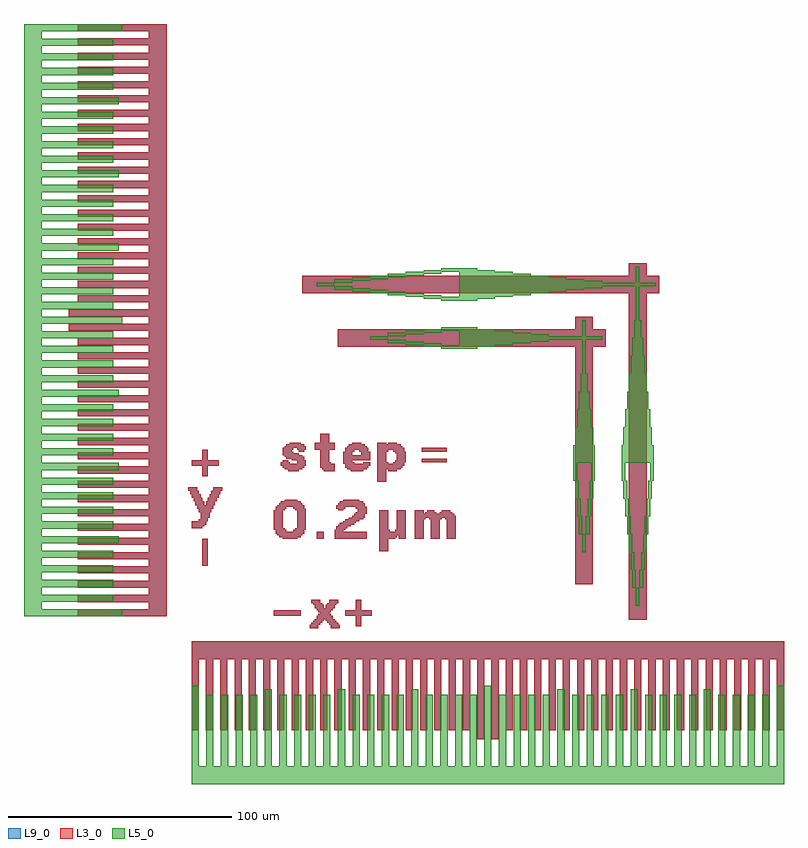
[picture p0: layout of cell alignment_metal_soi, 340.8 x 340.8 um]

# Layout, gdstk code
import gdstk
lib = gdstk.Library(unit=1e-6, precision=1e-09)
def R(c, l, rs):  # rectangles x0, y0, x1, y1
    for r in rs: c.add(gdstk.rectangle(r[:2], r[2:], *l))
def A(c, l, x, y, w, h, nx, ny, dx, dy):  # array of equal rectangles
    R(c, l, [(x+i*dx, y+j*dy, x+i*dx+w, y+j*dy+h) for i in range(nx) for j in range(ny)])
L3_0 = (3, 0)
L5_0 = (5, 0)
L9_0 = (9, 0)

alignment_metal_soi = lib.new_cell('alignment_metal_soi')
A(alignment_metal_soi, L3_0, 100.041, 45.9, 4, 8.8, 3, 1, 7.2, 0)
R(alignment_metal_soi, L3_0, [(128,-44,131.2,-8), (128,-44,131.2,-8), (128,-44,131.2,-8), (128,-44,131.2,-8), (128,-44,131.2,-8), (134.4,-44,137.6,-8), (134.4,-44,137.6,-8), (134.4,-44,137.6,-8), (134.4,-44,137.6,-8), (134.4,-44,137.6,-8), (0,-40,3.2,-8), (0,-40,3.2,-8), (0,-40,3.2,-8), (0,-40,3.2,-8), (0,-40,3.2,-8), (6.4,-40,9.6,-8), (6.4,-40,9.6,-8), (6.4,-40,9.6,-8), (6.4,-40,9.6,-8), (6.4,-40,9.6,-8), (12.8,-40,16,-8), (12.8,-40,16,-8), (12.8,-40,16,-8), (12.8,-40,16,-8), (12.8,-40,16,-8), (19.2,-40,22.4,-8), (19.2,-40,22.4,-8), (19.2,-40,22.4,-8), (19.2,-40,22.4,-8), (19.2,-40,22.4,-8), (25.6,-40,28.8,-8), (25.6,-40,28.8,-8), (25.6,-40,28.8,-8), (25.6,-40,28.8,-8), (25.6,-40,28.8,-8), (32,-40,35.2,-8), (32,-40,35.2,-8), (32,-40,35.2,-8), (32,-40,35.2,-8), (32,-40,35.2,-8), (38.4,-40,41.6,-8), (38.4,-40,41.6,-8), (38.4,-40,41.6,-8), (38.4,-40,41.6,-8), (38.4,-40,41.6,-8), (44.8,-40,48,-8), (44.8,-40,48,-8), (44.8,-40,48,-8), (44.8,-40,48,-8), (44.8,-40,48,-8), (51.2,-40,54.4,-8), (51.2,-40,54.4,-8), (51.2,-40,54.4,-8), (51.2,-40,54.4,-8), (51.2,-40,54.4,-8), (57.6,-40,60.8,-8), (57.6,-40,60.8,-8), (57.6,-40,60.8,-8), (57.6,-40,60.8,-8), (57.6,-40,60.8,-8), (64,-40,67.2,-8), (64,-40,67.2,-8), (64,-40,67.2,-8), (64,-40,67.2,-8), (64,-40,67.2,-8), (70.4,-40,73.6,-8), (70.4,-40,73.6,-8), (70.4,-40,73.6,-8), (70.4,-40,73.6,-8), (70.4,-40,73.6,-8), (76.8,-40,80,-8), (76.8,-40,80,-8), (76.8,-40,80,-8), (76.8,-40,80,-8), (76.8,-40,80,-8), (83.2,-40,86.4,-8), (83.2,-40,86.4,-8), (83.2,-40,86.4,-8), (83.2,-40,86.4,-8), (83.2,-40,86.4,-8), (89.6,-40,92.8,-8), (89.6,-40,92.8,-8), (89.6,-40,92.8,-8), (89.6,-40,92.8,-8), (89.6,-40,92.8,-8), (96,-40,99.2,-8), (96,-40,99.2,-8), (96,-40,99.2,-8), (96,-40,99.2,-8), (96,-40,99.2,-8), (102.4,-40,105.6,-8), (102.4,-40,105.6,-8), (102.4,-40,105.6,-8), (102.4,-40,105.6,-8), (102.4,-40,105.6,-8), (108.8,-40,112,-8), (108.8,-40,112,-8), (108.8,-40,112,-8), (108.8,-40,112,-8), (108.8,-40,112,-8), (115.2,-40,118.4,-8), (115.2,-40,118.4,-8), (115.2,-40,118.4,-8), (115.2,-40,118.4,-8), (115.2,-40,118.4,-8), (121.6,-40,124.8,-8), (121.6,-40,124.8,-8), (121.6,-40,124.8,-8), (121.6,-40,124.8,-8), (121.6,-40,124.8,-8), (140.8,-40,144,-8), (140.8,-40,144,-8), (140.8,-40,144,-8), (140.8,-40,144,-8), (140.8,-40,144,-8), (147.2,-40,150.4,-8), (147.2,-40,150.4,-8), (147.2,-40,150.4,-8), (147.2,-40,150.4,-8), (147.2,-40,150.4,-8), (153.6,-40,156.8,-8), (153.6,-40,156.8,-8), (153.6,-40,156.8,-8), (153.6,-40,156.8,-8), (153.6,-40,156.8,-8), (160,-40,163.2,-8), (160,-40,163.2,-8), (160,-40,163.2,-8), (160,-40,163.2,-8), (160,-40,163.2,-8), (166.4,-40,169.6,-8), (166.4,-40,169.6,-8), (166.4,-40,169.6,-8), (166.4,-40,169.6,-8), (166.4,-40,169.6,-8), (172.8,-40,176,-8), (172.8,-40,176,-8), (172.8,-40,176,-8), (172.8,-40,176,-8), (172.8,-40,176,-8), (179.2,-40,182.4,-8), (179.2,-40,182.4,-8), (179.2,-40,182.4,-8), (179.2,-40,182.4,-8), (179.2,-40,182.4,-8), (185.6,-40,188.8,-8), (185.6,-40,188.8,-8), (185.6,-40,188.8,-8), (185.6,-40,188.8,-8), (185.6,-40,188.8,-8), (192,-40,195.2,-8), (192,-40,195.2,-8), (192,-40,195.2,-8), (192,-40,195.2,-8), (192,-40,195.2,-8), (198.4,-40,201.6,-8), (198.4,-40,201.6,-8), (198.4,-40,201.6,-8), (198.4,-40,201.6,-8), (198.4,-40,201.6,-8), (204.8,-40,208,-8), (204.8,-40,208,-8), (204.8,-40,208,-8), (204.8,-40,208,-8), (204.8,-40,208,-8), (211.2,-40,214.4,-8), (211.2,-40,214.4,-8), (211.2,-40,214.4,-8), (211.2,-40,214.4,-8), (211.2,-40,214.4,-8), (217.6,-40,220.8,-8), (217.6,-40,220.8,-8), (217.6,-40,220.8,-8), (217.6,-40,220.8,-8), (217.6,-40,220.8,-8), (224,-40,227.2,-8), (224,-40,227.2,-8), (224,-40,227.2,-8), (224,-40,227.2,-8), (224,-40,227.2,-8), (230.4,-40,233.6,-8), (230.4,-40,233.6,-8), (230.4,-40,233.6,-8), (230.4,-40,233.6,-8), (230.4,-40,233.6,-8), (236.8,-40,240,-8), (236.8,-40,240,-8), (236.8,-40,240,-8), (236.8,-40,240,-8), (236.8,-40,240,-8), (243.2,-40,246.4,-8), (243.2,-40,246.4,-8), (243.2,-40,246.4,-8), (243.2,-40,246.4,-8), (243.2,-40,246.4,-8), (249.6,-40,252.8,-8), (249.6,-40,252.8,-8), (249.6,-40,252.8,-8), (249.6,-40,252.8,-8), (249.6,-40,252.8,-8), (256,-40,259.2,-8), (256,-40,259.2,-8), (256,-40,259.2,-8), (256,-40,259.2,-8), (256,-40,259.2,-8), (262.4,-40,265.6,-8), (262.4,-40,265.6,-8), (262.4,-40,265.6,-8), (262.4,-40,265.6,-8), (262.4,-40,265.6,-8), (0,-8,265.6,0), (0,-8,265.6,0), (0,-8,265.6,0), (0,-8,265.6,0), (0,-8,265.6,0), (52.841,5.9,56.841,7.5), (62.441,5.9,66.441,7.5), (73.641,6.7,76.041,18.7), (53.641,7.5,57.641,8.3), (61.641,7.5,65.641,8.3), (54.441,8.3,58.441,9.1), (60.841,8.3,64.841,9.1), (55.241,9.1,59.241,9.9), (60.041,9.1,64.041,9.9), (196,9.601,204,169.601), (56.041,9.9,63.241,11.5), (-51.2,11.2,-19.2,14.4), (-51.2,11.2,-19.2,14.4), (-19.2,11.2,-11.2,276.8), (-19.2,11.2,-11.2,276.8), (36.841,11.5,48.841,13.9), (56.841,11.5,62.441,12.3), (68.841,11.5,80.841,13.9), (57.641,12.3,61.641,13.1), (56.841,13.1,62.441,13.9), (56.041,13.9,63.241,14.7), (55.241,14.7,59.241,16.3), (60.041,14.7,64.041,16.3), (54.441,16.3,58.441,17.1), (60.841,16.3,64.841,17.1), (53.641,17.1,57.641,18.7), (61.641,17.1,65.641,18.7), (-51.2,17.6,-19.2,20.8), (-51.2,17.6,-19.2,20.8), (-51.2,24,-19.2,27.2), (-51.2,24,-19.2,27.2), (171.92,25.6,179.92,145.6), (-51.2,30.4,-19.2,33.6), (-51.2,30.4,-19.2,33.6), (4.841,33.9,7.241,45.9), (-51.2,36.8,-19.2,40), (-51.2,36.8,-19.2,40), (84.041,40.3,88.041,49.1), (-51.2,43.2,-19.2,46.4), (-51.2,43.2,-19.2,46.4), (40.841,45.9,47.241,46.7), (56.041,45.9,59.241,49.1), (64.041,45.9,78.441,49.1), (86.441,45.9,91.241,46.7), (92.841,45.9,96.041,47.5), (39.241,46.7,48.841,47.5), (85.641,46.7,92.041,47.5), (38.441,47.5,49.641,48.3), (84.841,47.5,96.041,49.1), (37.641,48.3,50.441,49.1), (37.641,49.1,42.441,49.9), (45.641,49.1,50.441,49.9), (64.041,49.1,68.041,49.9), (84.041,49.1,88.841,49.9), (91.241,49.1,96.041,49.9), (-51.2,49.6,-19.2,52.8), (-51.2,49.6,-19.2,52.8), (36.841,49.9,41.641,50.7), (46.441,49.9,51.241,50.7), (64.841,49.9,68.841,50.7), (84.041,49.9,88.041,58.7), (92.041,49.9,96.041,58.7), (0.041,50.7,4.841,51.5), (36.841,50.7,40.841,58.7), (47.241,50.7,51.241,58.7), (64.841,50.7,69.641,51.5), (0.041,51.5,5.641,52.3), (65.641,51.5,71.241,52.3), (0.041,52.3,6.441,53.9), (66.441,52.3,72.841,53.1), (68.041,53.1,73.641,53.9), (3.241,53.9,7.241,54.7), (68.841,53.9,75.241,54.7), (4.041,54.7,7.241,55.5), (70.441,54.7,76.841,55.5), (100.041,54.7,104.841,55.5), (106.441,54.7,112.041,55.5), (113.641,54.7,118.441,55.5), (4.041,55.5,8.041,57.9), (72.041,55.5,77.641,56.3), (100.041,55.5,118.441,56.3), (-51.2,56,-19.2,59.2), (-51.2,56,-19.2,59.2), (72.841,56.3,77.641,57.1), (100.041,56.3,117.641,57.1), (73.641,57.1,78.441,57.9), (100.041,57.1,104.041,58.7), (104.841,57.1,109.641,57.9), (111.241,57.1,116.841,57.9), (3.241,57.9,8.841,59.5), (74.441,57.9,78.441,59.5), (105.641,57.9,108.841,58.7), (112.041,57.9,116.041,58.7), (37.641,58.7,41.641,59.5), (46.441,58.7,51.241,59.5), (65.641,58.7,68.041,59.5), (2.441,59.5,9.641,61.1), (37.641,59.5,42.441,60.3), (45.641,59.5,50.441,60.3), (64.841,59.5,68.841,60.3), (73.641,59.5,78.441,60.3), (38.441,60.3,50.441,61.1), (64.841,60.3,77.641,61.1), (1.641,61.1,5.641,62.7), (6.441,61.1,10.441,62.7), (39.241,61.1,49.641,61.9), (65.641,61.1,77.641,61.9), (40.041,61.9,48.841,62.7), (66.441,61.9,76.841,62.7), (-51.2,62.4,-19.2,65.6), (-51.2,62.4,-19.2,65.6), (0.841,62.7,4.841,64.3), (7.241,62.7,11.241,64.3), (41.641,62.7,47.241,63.5), (68.041,62.7,75.241,63.5), (0.041,64.3,4.041,65.9), (8.041,64.3,12.041,65.9), (-0.759,65.9,3.241,67.5), (8.841,65.9,12.841,67.5), (-1.559,67.5,2.441,69.1), (9.641,67.5,13.641,69.1), (-51.2,68.8,-19.2,72), (-51.2,68.8,-19.2,72), (83.241,71.5,87.241,77.1), (4.841,73.9,7.241,85.9), (-51.2,75.2,-19.2,78.4), (-51.2,75.2,-19.2,78.4), (43.241,76.3,48.041,77.1), (59.241,76.3,64.041,77.1), (71.241,76.3,76.841,77.1), (88.041,76.3,92.041,77.1), (41.641,77.1,49.641,77.9), (58.441,77.1,64.041,77.9), (69.641,77.1,78.441,77.9), (83.241,77.1,93.641,77.9), (40.841,77.9,50.441,78.7), (57.641,77.9,64.041,79.5), (68.841,77.9,79.241,78.7), (83.241,77.9,94.441,78.7), (0.041,78.7,12.041,81.1), (40.041,78.7,51.241,79.5), (68.841,78.7,80.041,79.5), (83.241,78.7,95.241,79.5), (40.041,79.5,44.041,80.3), (47.241,79.5,51.241,81.1), (57.641,79.5,62.441,80.3), (68.041,79.5,72.841,80.3), (76.841,79.5,80.041,80.3), (83.241,79.5,88.041,80.3), (90.441,79.5,95.241,80.3), (40.841,80.3,43.241,81.1), (57.641,80.3,61.641,85.9), (68.041,80.3,72.041,81.1), (83.241,80.3,87.241,85.1), (91.241,80.3,96.041,81.1), (103.241,80.3,114.441,81.9), (44.841,81.1,50.441,81.9), (68.041,81.1,80.041,83.5), (92.041,81.1,96.041,84.3), (-51.2,81.6,-19.2,84.8), (-51.2,81.6,-19.2,84.8), (42.441,81.9,50.441,82.7), (41.641,82.7,49.641,83.5), (40.841,83.5,48.041,84.3), (68.041,83.5,72.041,85.1), (76.041,83.5,80.041,85.1), (40.841,84.3,45.641,85.1), (91.241,84.3,96.041,85.1), (40.841,85.1,44.841,85.9), (48.041,85.1,50.441,85.9), (68.841,85.1,72.841,85.9), (75.241,85.1,79.241,85.9), (83.241,85.1,88.041,85.9), (90.441,85.1,95.241,85.9), (103.241,85.1,114.441,86.7), (40.841,85.9,45.641,86.7), (47.241,85.9,51.241,86.7), (55.241,85.9,64.041,89.1), (68.841,85.9,79.241,86.7), (83.241,85.9,95.241,86.7), (41.641,86.7,51.241,87.5), (69.641,86.7,78.441,87.5), (83.241,86.7,94.441,87.5), (42.441,87.5,50.441,88.3), (70.441,87.5,77.641,88.3), (83.241,87.5,93.641,88.3), (-51.2,88,-19.2,91.2), (-51.2,88,-19.2,91.2), (44.041,88.3,48.841,89.1), (72.041,88.3,76.041,89.1), (83.241,88.3,87.241,89.1), (88.041,88.3,92.041,89.1), (57.641,89.1,61.641,93.1), (-51.2,94.4,-19.2,97.6), (-51.2,94.4,-19.2,97.6), (-51.2,100.8,-19.2,104), (-51.2,100.8,-19.2,104), (-51.2,107.2,-19.2,110.4), (-51.2,107.2,-19.2,110.4), (-51.2,113.6,-19.2,116.8), (-51.2,113.6,-19.2,116.8), (-51.2,120,-19.2,123.2), (-51.2,120,-19.2,123.2), (-51.2,126.4,-19.2,129.6), (-51.2,126.4,-19.2,129.6), (65.6,132,185.6,140), (-51.2,132.8,-19.2,136), (-51.2,132.8,-19.2,136), (-55.2,139.2,-19.2,142.4), (-55.2,139.2,-19.2,142.4), (-55.2,145.6,-19.2,148.8), (-55.2,145.6,-19.2,148.8), (-51.2,152,-19.2,155.2), (-51.2,152,-19.2,155.2), (49.6,156,209.6,164), (-51.2,158.4,-19.2,161.6), (-51.2,158.4,-19.2,161.6), (-51.2,164.8,-19.2,168), (-51.2,164.8,-19.2,168), (-51.2,171.2,-19.2,174.4), (-51.2,171.2,-19.2,174.4), (-51.2,177.6,-19.2,180.8), (-51.2,177.6,-19.2,180.8), (-51.2,184,-19.2,187.2), (-51.2,184,-19.2,187.2), (-51.2,190.4,-19.2,193.6), (-51.2,190.4,-19.2,193.6), (-51.2,196.8,-19.2,200), (-51.2,196.8,-19.2,200), (-51.2,203.2,-19.2,206.4), (-51.2,203.2,-19.2,206.4), (-51.2,209.6,-19.2,212.8), (-51.2,209.6,-19.2,212.8), (-51.2,216,-19.2,219.2), (-51.2,216,-19.2,219.2), (-51.2,222.4,-19.2,225.6), (-51.2,222.4,-19.2,225.6), (-51.2,228.8,-19.2,232), (-51.2,228.8,-19.2,232), (-51.2,235.2,-19.2,238.4), (-51.2,235.2,-19.2,238.4), (-51.2,241.6,-19.2,244.8), (-51.2,241.6,-19.2,244.8), (-51.2,248,-19.2,251.2), (-51.2,248,-19.2,251.2), (-51.2,254.4,-19.2,257.6), (-51.2,254.4,-19.2,257.6), (-51.2,260.8,-19.2,264), (-51.2,260.8,-19.2,264), (-51.2,267.2,-19.2,270.4), (-51.2,267.2,-19.2,270.4), (-51.2,273.6,-19.2,276.8), (-51.2,273.6,-19.2,276.8)])
R(alignment_metal_soi, L5_0, [(0,-64,265.6,-56), (0,-64,265.6,-56), (0,-56,3.2,-20), (0,-56,3.2,-20), (6.56,-56,9.76,-24), (6.56,-56,9.76,-24), (13.12,-56,16.32,-24), (13.12,-56,16.32,-24), (19.68,-56,22.88,-24), (19.68,-56,22.88,-24), (26.24,-56,29.44,-24), (26.24,-56,29.44,-24), (32.8,-56,36,-21.6), (32.8,-56,36,-21.6), (39.36,-56,42.56,-24), (39.36,-56,42.56,-24), (45.92,-56,49.12,-24), (45.92,-56,49.12,-24), (52.48,-56,55.68,-24), (52.48,-56,55.68,-24), (59.04,-56,62.24,-24), (59.04,-56,62.24,-24), (65.6,-56,68.8,-21.6), (65.6,-56,68.8,-21.6), (72.16,-56,75.36,-24), (72.16,-56,75.36,-24), (78.72,-56,81.92,-24), (78.72,-56,81.92,-24), (85.28,-56,88.48,-24), (85.28,-56,88.48,-24), (91.84,-56,95.04,-24), (91.84,-56,95.04,-24), (98.4,-56,101.6,-21.6), (98.4,-56,101.6,-21.6), (104.96,-56,108.16,-24), (104.96,-56,108.16,-24), (111.52,-56,114.72,-24), (111.52,-56,114.72,-24), (118.08,-56,121.28,-24), (118.08,-56,121.28,-24), (124.64,-56,127.84,-24), (124.64,-56,127.84,-24), (131.2,-56,134.4,-20), (131.2,-56,134.4,-20), (137.76,-56,140.96,-24), (137.76,-56,140.96,-24), (144.32,-56,147.52,-24), (144.32,-56,147.52,-24), (150.88,-56,154.08,-24), (150.88,-56,154.08,-24), (157.44,-56,160.64,-24), (157.44,-56,160.64,-24), (164,-56,167.2,-21.6), (164,-56,167.2,-21.6), (170.56,-56,173.76,-24), (170.56,-56,173.76,-24), (177.12,-56,180.32,-24), (177.12,-56,180.32,-24), (183.68,-56,186.88,-24), (183.68,-56,186.88,-24), (190.24,-56,193.44,-24), (190.24,-56,193.44,-24), (196.8,-56,200,-21.6), (196.8,-56,200,-21.6), (203.36,-56,206.56,-24), (203.36,-56,206.56,-24), (209.92,-56,213.12,-24), (209.92,-56,213.12,-24), (216.48,-56,219.68,-24), (216.48,-56,219.68,-24), (223.04,-56,226.24,-24), (223.04,-56,226.24,-24), (229.6,-56,232.8,-21.6), (229.6,-56,232.8,-21.6), (236.16,-56,239.36,-24), (236.16,-56,239.36,-24), (242.72,-56,245.92,-24), (242.72,-56,245.92,-24), (249.28,-56,252.48,-24), (249.28,-56,252.48,-24), (255.84,-56,259.04,-24), (255.84,-56,259.04,-24), (262.4,-56,265.6,-20), (262.4,-56,265.6,-20), (-75.2,11.2,-67.2,276.8), (-75.2,11.2,-67.2,276.8), (-75.2,11.2,-67.2,276.8), (-75.2,11.2,-67.2,276.8), (-67.2,11.2,-31.2,14.4), (-67.2,11.2,-31.2,14.4), (-67.2,11.2,-31.2,14.4), (-67.2,11.2,-31.2,14.4), (199.2,16,200.8,24), (199.2,16,200.8,24), (-67.2,17.76,-35.2,20.96), (-67.2,17.76,-35.2,20.96), (-67.2,17.76,-35.2,20.96), (-67.2,17.76,-35.2,20.96), (197.6,24,199.2,32), (197.6,24,199.2,32), (200.8,24,202.4,32), (200.8,24,202.4,32), (-67.2,24.32,-35.2,27.52), (-67.2,24.32,-35.2,27.52), (-67.2,24.32,-35.2,27.52), (-67.2,24.32,-35.2,27.52), (-67.2,30.88,-35.2,34.08), (-67.2,30.88,-35.2,34.08), (-67.2,30.88,-35.2,34.08), (-67.2,30.88,-35.2,34.08), (196.8,32,198.4,40), (196.8,32,198.4,40), (201.6,32,203.2,40), (201.6,32,203.2,40), (-67.2,37.44,-35.2,40.64), (-67.2,37.44,-35.2,40.64), (-67.2,37.44,-35.2,40.64), (-67.2,37.44,-35.2,40.64), (175.2,40,176.8,48), (175.2,40,176.8,48), (196,40,197.6,48), (196,40,197.6,48), (202.4,40,204,48), (202.4,40,204,48), (-67.2,44,-32.8,47.2), (-67.2,44,-32.8,47.2), (-67.2,44,-32.8,47.2), (-67.2,44,-32.8,47.2), (173.6,48,175.2,56), (173.6,48,175.2,56), (176.8,48,178.4,56), (176.8,48,178.4,56), (195.2,48,196.8,56), (195.2,48,196.8,56), (203.2,48,204.8,56), (203.2,48,204.8,56), (-67.2,50.56,-35.2,53.76), (-67.2,50.56,-35.2,53.76), (-67.2,50.56,-35.2,53.76), (-67.2,50.56,-35.2,53.76), (172.8,56,174.4,64), (172.8,56,174.4,64), (177.6,56,179.2,64), (177.6,56,179.2,64), (194.4,56,196,64), (194.4,56,196,64), (204,56,205.6,64), (204,56,205.6,64), (-67.2,57.12,-35.2,60.32), (-67.2,57.12,-35.2,60.32), (-67.2,57.12,-35.2,60.32), (-67.2,57.12,-35.2,60.32), (-67.2,63.68,-35.2,66.88), (-67.2,63.68,-35.2,66.88), (-67.2,63.68,-35.2,66.88), (-67.2,63.68,-35.2,66.88), (172,64,173.6,72), (172,64,173.6,72), (178.4,64,180,72), (178.4,64,180,72), (193.6,64,195.2,72), (193.6,64,195.2,72), (204.8,64,206.4,72), (204.8,64,206.4,72), (-67.2,70.24,-35.2,73.44), (-67.2,70.24,-35.2,73.44), (-67.2,70.24,-35.2,73.44), (-67.2,70.24,-35.2,73.44), (171.2,72,172.8,80), (171.2,72,172.8,80), (179.2,72,180.8,80), (179.2,72,180.8,80), (192.8,72,194.4,80), (192.8,72,194.4,80), (205.6,72,207.2,80), (205.6,72,207.2,80), (-67.2,76.8,-32.8,80), (-67.2,76.8,-32.8,80), (-67.2,76.8,-32.8,80), (-67.2,76.8,-32.8,80), (171.2,80,180.8,88), (171.2,80,180.8,88), (192.8,80,207.2,88), (192.8,80,207.2,88), (-67.2,83.36,-35.2,86.56), (-67.2,83.36,-35.2,86.56), (-67.2,83.36,-35.2,86.56), (-67.2,83.36,-35.2,86.56), (172,88,180,96), (172,88,180,96), (193.6,88,206.4,96), (193.6,88,206.4,96), (-67.2,89.92,-35.2,93.12), (-67.2,89.92,-35.2,93.12), (-67.2,89.92,-35.2,93.12), (-67.2,89.92,-35.2,93.12), (172.8,96,179.2,104), (172.8,96,179.2,104), (194.4,96,205.6,104), (194.4,96,205.6,104), (-67.2,96.48,-35.2,99.68), (-67.2,96.48,-35.2,99.68), (-67.2,96.48,-35.2,99.68), (-67.2,96.48,-35.2,99.68), (-67.2,103.04,-35.2,106.24), (-67.2,103.04,-35.2,106.24), (-67.2,103.04,-35.2,106.24), (-67.2,103.04,-35.2,106.24), (173.6,104,178.4,112), (173.6,104,178.4,112), (195.2,104,204.8,112), (195.2,104,204.8,112), (-67.2,109.6,-32.8,112.8), (-67.2,109.6,-32.8,112.8), (-67.2,109.6,-32.8,112.8), (-67.2,109.6,-32.8,112.8), (174.4,112,177.6,120), (174.4,112,177.6,120), (196,112,204,120), (196,112,204,120), (-67.2,116.16,-35.2,119.36), (-67.2,116.16,-35.2,119.36), (-67.2,116.16,-35.2,119.36), (-67.2,116.16,-35.2,119.36), (175.2,120,176.8,144), (175.2,120,176.8,144), (196.8,120,203.2,128), (196.8,120,203.2,128), (-67.2,122.72,-35.2,125.92), (-67.2,122.72,-35.2,125.92), (-67.2,122.72,-35.2,125.92), (-67.2,122.72,-35.2,125.92), (197.6,128,202.4,136), (197.6,128,202.4,136), (-67.2,129.28,-35.2,132.48), (-67.2,129.28,-35.2,132.48), (-67.2,129.28,-35.2,132.48), (-67.2,129.28,-35.2,132.48), (112,131.2,120,132.8), (112,131.2,120,132.8), (120,131.2,128,140.8), (120,131.2,128,140.8), (104,132,112,133.6), (104,132,112,133.6), (128,132,136,140), (128,132,136,140), (96,132.8,104,134.4), (96,132.8,104,134.4), (136,132.8,144,139.2), (136,132.8,144,139.2), (88,133.6,96,135.2), (88,133.6,96,135.2), (144,133.6,152,138.4), (144,133.6,152,138.4), (152,134.4,160,137.6), (152,134.4,160,137.6), (80,135.2,88,136.8), (80,135.2,88,136.8), (160,135.2,184,136.8), (160,135.2,184,136.8), (-67.2,135.84,-35.2,139.04), (-67.2,135.84,-35.2,139.04), (-67.2,135.84,-35.2,139.04), (-67.2,135.84,-35.2,139.04), (198.4,136,201.6,144), (198.4,136,201.6,144), (88,136.8,96,138.4), (88,136.8,96,138.4), (96,137.6,104,139.2), (96,137.6,104,139.2), (104,138.4,112,140), (104,138.4,112,140), (112,139.2,120,140.8), (112,139.2,120,140.8), (-67.2,142.4,-31.2,145.6), (-67.2,142.4,-31.2,145.6), (-67.2,142.4,-31.2,145.6), (-67.2,142.4,-31.2,145.6), (199.2,144,200.8,168), (199.2,144,200.8,168), (-67.2,148.96,-35.2,152.16), (-67.2,148.96,-35.2,152.16), (-67.2,148.96,-35.2,152.16), (-67.2,148.96,-35.2,152.16), (112,152.8,120,154.4), (112,152.8,120,154.4), (120,152.8,128,167.2), (120,152.8,128,167.2), (104,153.6,112,155.2), (104,153.6,112,155.2), (128,153.6,136,166.4), (128,153.6,136,166.4), (96,154.4,104,156), (96,154.4,104,156), (136,154.4,144,165.6), (136,154.4,144,165.6), (88,155.2,96,156.8), (88,155.2,96,156.8), (144,155.2,152,164.8), (144,155.2,152,164.8), (-67.2,155.52,-35.2,158.72), (-67.2,155.52,-35.2,158.72), (-67.2,155.52,-35.2,158.72), (-67.2,155.52,-35.2,158.72), (80,156,88,157.6), (80,156,88,157.6), (152,156,160,164), (152,156,160,164), (72,156.8,80,158.4), (72,156.8,80,158.4), (160,156.8,168,163.2), (160,156.8,168,163.2), (64,157.6,72,159.2), (64,157.6,72,159.2), (168,157.6,176,162.4), (168,157.6,176,162.4), (176,158.4,184,161.6), (176,158.4,184,161.6), (56,159.2,64,160.8), (56,159.2,64,160.8), (184,159.2,208,160.8), (184,159.2,208,160.8), (64,160.8,72,162.4), (64,160.8,72,162.4), (72,161.6,80,163.2), (72,161.6,80,163.2), (-67.2,162.08,-35.2,165.28), (-67.2,162.08,-35.2,165.28), (-67.2,162.08,-35.2,165.28), (-67.2,162.08,-35.2,165.28), (80,162.4,88,164), (80,162.4,88,164), (88,163.2,96,164.8), (88,163.2,96,164.8), (96,164,104,165.6), (96,164,104,165.6), (104,164.8,112,166.4), (104,164.8,112,166.4), (112,165.6,120,167.2), (112,165.6,120,167.2), (-67.2,168.64,-35.2,171.84), (-67.2,168.64,-35.2,171.84), (-67.2,168.64,-35.2,171.84), (-67.2,168.64,-35.2,171.84), (-67.2,175.2,-32.8,178.4), (-67.2,175.2,-32.8,178.4), (-67.2,175.2,-32.8,178.4), (-67.2,175.2,-32.8,178.4), (-67.2,181.76,-35.2,184.96), (-67.2,181.76,-35.2,184.96), (-67.2,181.76,-35.2,184.96), (-67.2,181.76,-35.2,184.96), (-67.2,188.32,-35.2,191.52), (-67.2,188.32,-35.2,191.52), (-67.2,188.32,-35.2,191.52), (-67.2,188.32,-35.2,191.52), (-67.2,194.88,-35.2,198.08), (-67.2,194.88,-35.2,198.08), (-67.2,194.88,-35.2,198.08), (-67.2,194.88,-35.2,198.08), (-67.2,201.44,-35.2,204.64), (-67.2,201.44,-35.2,204.64), (-67.2,201.44,-35.2,204.64), (-67.2,201.44,-35.2,204.64), (-67.2,208,-32.8,211.2), (-67.2,208,-32.8,211.2), (-67.2,208,-32.8,211.2), (-67.2,208,-32.8,211.2), (-67.2,214.56,-35.2,217.76), (-67.2,214.56,-35.2,217.76), (-67.2,214.56,-35.2,217.76), (-67.2,214.56,-35.2,217.76), (-67.2,221.12,-35.2,224.32), (-67.2,221.12,-35.2,224.32), (-67.2,221.12,-35.2,224.32), (-67.2,221.12,-35.2,224.32), (-67.2,227.68,-35.2,230.88), (-67.2,227.68,-35.2,230.88), (-67.2,227.68,-35.2,230.88), (-67.2,227.68,-35.2,230.88), (-67.2,234.24,-35.2,237.44), (-67.2,234.24,-35.2,237.44), (-67.2,234.24,-35.2,237.44), (-67.2,234.24,-35.2,237.44), (-67.2,240.8,-32.8,244), (-67.2,240.8,-32.8,244), (-67.2,240.8,-32.8,244), (-67.2,240.8,-32.8,244), (-67.2,247.36,-35.2,250.56), (-67.2,247.36,-35.2,250.56), (-67.2,247.36,-35.2,250.56), (-67.2,247.36,-35.2,250.56), (-67.2,253.92,-35.2,257.12), (-67.2,253.92,-35.2,257.12), (-67.2,253.92,-35.2,257.12), (-67.2,253.92,-35.2,257.12), (-67.2,260.48,-35.2,263.68), (-67.2,260.48,-35.2,263.68), (-67.2,260.48,-35.2,263.68), (-67.2,260.48,-35.2,263.68), (-67.2,267.04,-35.2,270.24), (-67.2,267.04,-35.2,270.24), (-67.2,267.04,-35.2,270.24), (-67.2,267.04,-35.2,270.24), (-67.2,273.6,-31.2,276.8), (-67.2,273.6,-31.2,276.8), (-67.2,273.6,-31.2,276.8), (-67.2,273.6,-31.2,276.8)])
A(alignment_metal_soi, L9_0, 100.041, 45.9, 4, 8.8, 3, 1, 7.2, 0)
R(alignment_metal_soi, L9_0, [(128,-44,131.2,-8), (128,-44,131.2,-8), (128,-44,131.2,-8), (128,-44,131.2,-8), (128,-44,131.2,-8), (134.4,-44,137.6,-8), (134.4,-44,137.6,-8), (134.4,-44,137.6,-8), (134.4,-44,137.6,-8), (134.4,-44,137.6,-8), (0,-40,3.2,-8), (0,-40,3.2,-8), (0,-40,3.2,-8), (0,-40,3.2,-8), (0,-40,3.2,-8), (6.4,-40,9.6,-8), (6.4,-40,9.6,-8), (6.4,-40,9.6,-8), (6.4,-40,9.6,-8), (6.4,-40,9.6,-8), (12.8,-40,16,-8), (12.8,-40,16,-8), (12.8,-40,16,-8), (12.8,-40,16,-8), (12.8,-40,16,-8), (19.2,-40,22.4,-8), (19.2,-40,22.4,-8), (19.2,-40,22.4,-8), (19.2,-40,22.4,-8), (19.2,-40,22.4,-8), (25.6,-40,28.8,-8), (25.6,-40,28.8,-8), (25.6,-40,28.8,-8), (25.6,-40,28.8,-8), (25.6,-40,28.8,-8), (32,-40,35.2,-8), (32,-40,35.2,-8), (32,-40,35.2,-8), (32,-40,35.2,-8), (32,-40,35.2,-8), (38.4,-40,41.6,-8), (38.4,-40,41.6,-8), (38.4,-40,41.6,-8), (38.4,-40,41.6,-8), (38.4,-40,41.6,-8), (44.8,-40,48,-8), (44.8,-40,48,-8), (44.8,-40,48,-8), (44.8,-40,48,-8), (44.8,-40,48,-8), (51.2,-40,54.4,-8), (51.2,-40,54.4,-8), (51.2,-40,54.4,-8), (51.2,-40,54.4,-8), (51.2,-40,54.4,-8), (57.6,-40,60.8,-8), (57.6,-40,60.8,-8), (57.6,-40,60.8,-8), (57.6,-40,60.8,-8), (57.6,-40,60.8,-8), (64,-40,67.2,-8), (64,-40,67.2,-8), (64,-40,67.2,-8), (64,-40,67.2,-8), (64,-40,67.2,-8), (70.4,-40,73.6,-8), (70.4,-40,73.6,-8), (70.4,-40,73.6,-8), (70.4,-40,73.6,-8), (70.4,-40,73.6,-8), (76.8,-40,80,-8), (76.8,-40,80,-8), (76.8,-40,80,-8), (76.8,-40,80,-8), (76.8,-40,80,-8), (83.2,-40,86.4,-8), (83.2,-40,86.4,-8), (83.2,-40,86.4,-8), (83.2,-40,86.4,-8), (83.2,-40,86.4,-8), (89.6,-40,92.8,-8), (89.6,-40,92.8,-8), (89.6,-40,92.8,-8), (89.6,-40,92.8,-8), (89.6,-40,92.8,-8), (96,-40,99.2,-8), (96,-40,99.2,-8), (96,-40,99.2,-8), (96,-40,99.2,-8), (96,-40,99.2,-8), (102.4,-40,105.6,-8), (102.4,-40,105.6,-8), (102.4,-40,105.6,-8), (102.4,-40,105.6,-8), (102.4,-40,105.6,-8), (108.8,-40,112,-8), (108.8,-40,112,-8), (108.8,-40,112,-8), (108.8,-40,112,-8), (108.8,-40,112,-8), (115.2,-40,118.4,-8), (115.2,-40,118.4,-8), (115.2,-40,118.4,-8), (115.2,-40,118.4,-8), (115.2,-40,118.4,-8), (121.6,-40,124.8,-8), (121.6,-40,124.8,-8), (121.6,-40,124.8,-8), (121.6,-40,124.8,-8), (121.6,-40,124.8,-8), (140.8,-40,144,-8), (140.8,-40,144,-8), (140.8,-40,144,-8), (140.8,-40,144,-8), (140.8,-40,144,-8), (147.2,-40,150.4,-8), (147.2,-40,150.4,-8), (147.2,-40,150.4,-8), (147.2,-40,150.4,-8), (147.2,-40,150.4,-8), (153.6,-40,156.8,-8), (153.6,-40,156.8,-8), (153.6,-40,156.8,-8), (153.6,-40,156.8,-8), (153.6,-40,156.8,-8), (160,-40,163.2,-8), (160,-40,163.2,-8), (160,-40,163.2,-8), (160,-40,163.2,-8), (160,-40,163.2,-8), (166.4,-40,169.6,-8), (166.4,-40,169.6,-8), (166.4,-40,169.6,-8), (166.4,-40,169.6,-8), (166.4,-40,169.6,-8), (172.8,-40,176,-8), (172.8,-40,176,-8), (172.8,-40,176,-8), (172.8,-40,176,-8), (172.8,-40,176,-8), (179.2,-40,182.4,-8), (179.2,-40,182.4,-8), (179.2,-40,182.4,-8), (179.2,-40,182.4,-8), (179.2,-40,182.4,-8), (185.6,-40,188.8,-8), (185.6,-40,188.8,-8), (185.6,-40,188.8,-8), (185.6,-40,188.8,-8), (185.6,-40,188.8,-8), (192,-40,195.2,-8), (192,-40,195.2,-8), (192,-40,195.2,-8), (192,-40,195.2,-8), (192,-40,195.2,-8), (198.4,-40,201.6,-8), (198.4,-40,201.6,-8), (198.4,-40,201.6,-8), (198.4,-40,201.6,-8), (198.4,-40,201.6,-8), (204.8,-40,208,-8), (204.8,-40,208,-8), (204.8,-40,208,-8), (204.8,-40,208,-8), (204.8,-40,208,-8), (211.2,-40,214.4,-8), (211.2,-40,214.4,-8), (211.2,-40,214.4,-8), (211.2,-40,214.4,-8), (211.2,-40,214.4,-8), (217.6,-40,220.8,-8), (217.6,-40,220.8,-8), (217.6,-40,220.8,-8), (217.6,-40,220.8,-8), (217.6,-40,220.8,-8), (224,-40,227.2,-8), (224,-40,227.2,-8), (224,-40,227.2,-8), (224,-40,227.2,-8), (224,-40,227.2,-8), (230.4,-40,233.6,-8), (230.4,-40,233.6,-8), (230.4,-40,233.6,-8), (230.4,-40,233.6,-8), (230.4,-40,233.6,-8), (236.8,-40,240,-8), (236.8,-40,240,-8), (236.8,-40,240,-8), (236.8,-40,240,-8), (236.8,-40,240,-8), (243.2,-40,246.4,-8), (243.2,-40,246.4,-8), (243.2,-40,246.4,-8), (243.2,-40,246.4,-8), (243.2,-40,246.4,-8), (249.6,-40,252.8,-8), (249.6,-40,252.8,-8), (249.6,-40,252.8,-8), (249.6,-40,252.8,-8), (249.6,-40,252.8,-8), (256,-40,259.2,-8), (256,-40,259.2,-8), (256,-40,259.2,-8), (256,-40,259.2,-8), (256,-40,259.2,-8), (262.4,-40,265.6,-8), (262.4,-40,265.6,-8), (262.4,-40,265.6,-8), (262.4,-40,265.6,-8), (262.4,-40,265.6,-8), (0,-8,265.6,0), (0,-8,265.6,0), (0,-8,265.6,0), (0,-8,265.6,0), (0,-8,265.6,0), (52.841,5.9,56.841,7.5), (62.441,5.9,66.441,7.5), (73.641,6.7,76.041,18.7), (53.641,7.5,57.641,8.3), (61.641,7.5,65.641,8.3), (54.441,8.3,58.441,9.1), (60.841,8.3,64.841,9.1), (55.241,9.1,59.241,9.9), (60.041,9.1,64.041,9.9), (196,9.601,204,169.601), (56.041,9.9,63.241,11.5), (-51.2,11.2,-19.2,14.4), (-51.2,11.2,-19.2,14.4), (-19.2,11.2,-11.2,276.8), (-19.2,11.2,-11.2,276.8), (36.841,11.5,48.841,13.9), (56.841,11.5,62.441,12.3), (68.841,11.5,80.841,13.9), (57.641,12.3,61.641,13.1), (56.841,13.1,62.441,13.9), (56.041,13.9,63.241,14.7), (55.241,14.7,59.241,16.3), (60.041,14.7,64.041,16.3), (54.441,16.3,58.441,17.1), (60.841,16.3,64.841,17.1), (53.641,17.1,57.641,18.7), (61.641,17.1,65.641,18.7), (-51.2,17.6,-19.2,20.8), (-51.2,17.6,-19.2,20.8), (-51.2,24,-19.2,27.2), (-51.2,24,-19.2,27.2), (171.92,25.6,179.92,145.6), (-51.2,30.4,-19.2,33.6), (-51.2,30.4,-19.2,33.6), (4.841,33.9,7.241,45.9), (-51.2,36.8,-19.2,40), (-51.2,36.8,-19.2,40), (84.041,40.3,88.041,49.1), (-51.2,43.2,-19.2,46.4), (-51.2,43.2,-19.2,46.4), (40.841,45.9,47.241,46.7), (56.041,45.9,59.241,49.1), (64.041,45.9,78.441,49.1), (86.441,45.9,91.241,46.7), (92.841,45.9,96.041,47.5), (39.241,46.7,48.841,47.5), (85.641,46.7,92.041,47.5), (38.441,47.5,49.641,48.3), (84.841,47.5,96.041,49.1), (37.641,48.3,50.441,49.1), (37.641,49.1,42.441,49.9), (45.641,49.1,50.441,49.9), (64.041,49.1,68.041,49.9), (84.041,49.1,88.841,49.9), (91.241,49.1,96.041,49.9), (-51.2,49.6,-19.2,52.8), (-51.2,49.6,-19.2,52.8), (36.841,49.9,41.641,50.7), (46.441,49.9,51.241,50.7), (64.841,49.9,68.841,50.7), (84.041,49.9,88.041,58.7), (92.041,49.9,96.041,58.7), (0.041,50.7,4.841,51.5), (36.841,50.7,40.841,58.7), (47.241,50.7,51.241,58.7), (64.841,50.7,69.641,51.5), (0.041,51.5,5.641,52.3), (65.641,51.5,71.241,52.3), (0.041,52.3,6.441,53.9), (66.441,52.3,72.841,53.1), (68.041,53.1,73.641,53.9), (3.241,53.9,7.241,54.7), (68.841,53.9,75.241,54.7), (4.041,54.7,7.241,55.5), (70.441,54.7,76.841,55.5), (100.041,54.7,104.841,55.5), (106.441,54.7,112.041,55.5), (113.641,54.7,118.441,55.5), (4.041,55.5,8.041,57.9), (72.041,55.5,77.641,56.3), (100.041,55.5,118.441,56.3), (-51.2,56,-19.2,59.2), (-51.2,56,-19.2,59.2), (72.841,56.3,77.641,57.1), (100.041,56.3,117.641,57.1), (73.641,57.1,78.441,57.9), (100.041,57.1,104.041,58.7), (104.841,57.1,109.641,57.9), (111.241,57.1,116.841,57.9), (3.241,57.9,8.841,59.5), (74.441,57.9,78.441,59.5), (105.641,57.9,108.841,58.7), (112.041,57.9,116.041,58.7), (37.641,58.7,41.641,59.5), (46.441,58.7,51.241,59.5), (65.641,58.7,68.041,59.5), (2.441,59.5,9.641,61.1), (37.641,59.5,42.441,60.3), (45.641,59.5,50.441,60.3), (64.841,59.5,68.841,60.3), (73.641,59.5,78.441,60.3), (38.441,60.3,50.441,61.1), (64.841,60.3,77.641,61.1), (1.641,61.1,5.641,62.7), (6.441,61.1,10.441,62.7), (39.241,61.1,49.641,61.9), (65.641,61.1,77.641,61.9), (40.041,61.9,48.841,62.7), (66.441,61.9,76.841,62.7), (-51.2,62.4,-19.2,65.6), (-51.2,62.4,-19.2,65.6), (0.841,62.7,4.841,64.3), (7.241,62.7,11.241,64.3), (41.641,62.7,47.241,63.5), (68.041,62.7,75.241,63.5), (0.041,64.3,4.041,65.9), (8.041,64.3,12.041,65.9), (-0.759,65.9,3.241,67.5), (8.841,65.9,12.841,67.5), (-1.559,67.5,2.441,69.1), (9.641,67.5,13.641,69.1), (-51.2,68.8,-19.2,72), (-51.2,68.8,-19.2,72), (83.241,71.5,87.241,77.1), (4.841,73.9,7.241,85.9), (-51.2,75.2,-19.2,78.4), (-51.2,75.2,-19.2,78.4), (43.241,76.3,48.041,77.1), (59.241,76.3,64.041,77.1), (71.241,76.3,76.841,77.1), (88.041,76.3,92.041,77.1), (41.641,77.1,49.641,77.9), (58.441,77.1,64.041,77.9), (69.641,77.1,78.441,77.9), (83.241,77.1,93.641,77.9), (40.841,77.9,50.441,78.7), (57.641,77.9,64.041,79.5), (68.841,77.9,79.241,78.7), (83.241,77.9,94.441,78.7), (0.041,78.7,12.041,81.1), (40.041,78.7,51.241,79.5), (68.841,78.7,80.041,79.5), (83.241,78.7,95.241,79.5), (40.041,79.5,44.041,80.3), (47.241,79.5,51.241,81.1), (57.641,79.5,62.441,80.3), (68.041,79.5,72.841,80.3), (76.841,79.5,80.041,80.3), (83.241,79.5,88.041,80.3), (90.441,79.5,95.241,80.3), (40.841,80.3,43.241,81.1), (57.641,80.3,61.641,85.9), (68.041,80.3,72.041,81.1), (83.241,80.3,87.241,85.1), (91.241,80.3,96.041,81.1), (103.241,80.3,114.441,81.9), (44.841,81.1,50.441,81.9), (68.041,81.1,80.041,83.5), (92.041,81.1,96.041,84.3), (-51.2,81.6,-19.2,84.8), (-51.2,81.6,-19.2,84.8), (42.441,81.9,50.441,82.7), (41.641,82.7,49.641,83.5), (40.841,83.5,48.041,84.3), (68.041,83.5,72.041,85.1), (76.041,83.5,80.041,85.1), (40.841,84.3,45.641,85.1), (91.241,84.3,96.041,85.1), (40.841,85.1,44.841,85.9), (48.041,85.1,50.441,85.9), (68.841,85.1,72.841,85.9), (75.241,85.1,79.241,85.9), (83.241,85.1,88.041,85.9), (90.441,85.1,95.241,85.9), (103.241,85.1,114.441,86.7), (40.841,85.9,45.641,86.7), (47.241,85.9,51.241,86.7), (55.241,85.9,64.041,89.1), (68.841,85.9,79.241,86.7), (83.241,85.9,95.241,86.7), (41.641,86.7,51.241,87.5), (69.641,86.7,78.441,87.5), (83.241,86.7,94.441,87.5), (42.441,87.5,50.441,88.3), (70.441,87.5,77.641,88.3), (83.241,87.5,93.641,88.3), (-51.2,88,-19.2,91.2), (-51.2,88,-19.2,91.2), (44.041,88.3,48.841,89.1), (72.041,88.3,76.041,89.1), (83.241,88.3,87.241,89.1), (88.041,88.3,92.041,89.1), (57.641,89.1,61.641,93.1), (-51.2,94.4,-19.2,97.6), (-51.2,94.4,-19.2,97.6), (-51.2,100.8,-19.2,104), (-51.2,100.8,-19.2,104), (-51.2,107.2,-19.2,110.4), (-51.2,107.2,-19.2,110.4), (-51.2,113.6,-19.2,116.8), (-51.2,113.6,-19.2,116.8), (-51.2,120,-19.2,123.2), (-51.2,120,-19.2,123.2), (-51.2,126.4,-19.2,129.6), (-51.2,126.4,-19.2,129.6), (65.6,132,185.6,140), (-51.2,132.8,-19.2,136), (-51.2,132.8,-19.2,136), (-55.2,139.2,-19.2,142.4), (-55.2,139.2,-19.2,142.4), (-55.2,145.6,-19.2,148.8), (-55.2,145.6,-19.2,148.8), (-51.2,152,-19.2,155.2), (-51.2,152,-19.2,155.2), (49.6,156,209.6,164), (-51.2,158.4,-19.2,161.6), (-51.2,158.4,-19.2,161.6), (-51.2,164.8,-19.2,168), (-51.2,164.8,-19.2,168), (-51.2,171.2,-19.2,174.4), (-51.2,171.2,-19.2,174.4), (-51.2,177.6,-19.2,180.8), (-51.2,177.6,-19.2,180.8), (-51.2,184,-19.2,187.2), (-51.2,184,-19.2,187.2), (-51.2,190.4,-19.2,193.6), (-51.2,190.4,-19.2,193.6), (-51.2,196.8,-19.2,200), (-51.2,196.8,-19.2,200), (-51.2,203.2,-19.2,206.4), (-51.2,203.2,-19.2,206.4), (-51.2,209.6,-19.2,212.8), (-51.2,209.6,-19.2,212.8), (-51.2,216,-19.2,219.2), (-51.2,216,-19.2,219.2), (-51.2,222.4,-19.2,225.6), (-51.2,222.4,-19.2,225.6), (-51.2,228.8,-19.2,232), (-51.2,228.8,-19.2,232), (-51.2,235.2,-19.2,238.4), (-51.2,235.2,-19.2,238.4), (-51.2,241.6,-19.2,244.8), (-51.2,241.6,-19.2,244.8), (-51.2,248,-19.2,251.2), (-51.2,248,-19.2,251.2), (-51.2,254.4,-19.2,257.6), (-51.2,254.4,-19.2,257.6), (-51.2,260.8,-19.2,264), (-51.2,260.8,-19.2,264), (-51.2,267.2,-19.2,270.4), (-51.2,267.2,-19.2,270.4), (-51.2,273.6,-19.2,276.8), (-51.2,273.6,-19.2,276.8)])

lib.write_gds('alignment_metal_soi.gds')
